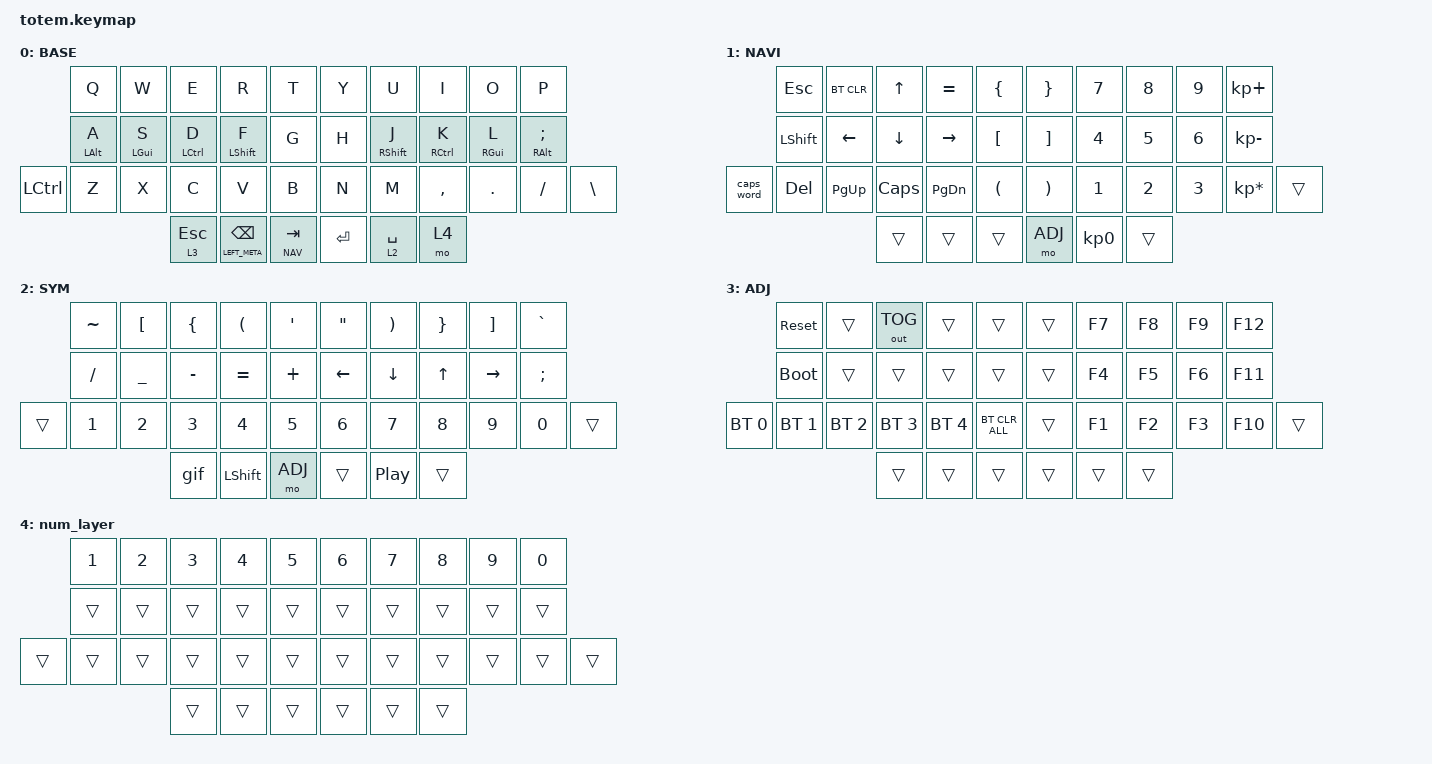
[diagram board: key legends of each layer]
//
//                                                        ▀▀▀▀▀     ▀▀▀▀▀          ▀▀█▀▀
//                                                        ▄▀▀▀▄  ▄  ▄▀▀▀▄  ▄  ▄▀▀▀▄  █  ▄▀▀▀▄
//                                                        █   █  █  █   █  █  █   █  █  █   █
//                                                         ▀▀▀   █   ▀▀▀   █   ▀▀▀   ▀   ▀▀▀
//                                                               █      ▄▄▄█▄▄▄    █   █  
//                                                               ▀      █  █  █     █▄█
//                                                             ▀▀▀▀▀    █  █  █      ▀
//                                                                      ▀  ▀  ▀
//
// ▄▄▄▄▄▄▄▄▄▄▄▄▄▄▄▄▄▄▄▄▄▄▄▄▄▄▄▄▄▄▄▄▄▄▄▄▄▄▄▄▄▄▄▄▄▄▄▄▄▄▄▄▄▄▄▄▄▄▄▄▄▄▄▄▄▄▄▄▄▄▄▄▄▄▄▄▄▄▄▄▄▄▄▄▄▄▄▄▄▄▄▄▄▄▄▄▄▄▄▄▄▄▄▄▄▄▄▄▄▄▄▄▄▄▄▄▄▄▄▄▄▄▄▄▄▄▄▄▄▄▄▄▄▄▄▄▄▄▄▄▄▄▄▄▄▄▄▄▄

#include <behaviors.dtsi>
#include <dt-bindings/zmk/bt.h>
#include <dt-bindings/zmk/keys.h>
#include <dt-bindings/zmk/outputs.h>

#define BASE 0
#define NAV  1
#define SYM  2
#define ADJ  3

&mt {
    quick-tap-ms = <100>;
    global-quick-tap;
    flavor = "tap-preferred";
    tapping-term-ms = <170>;
};

/ {
    combos {
        compatible = "zmk,combos";

        combo_esc {
            timeout-ms = <50>;
            key-positions = <0 1>;
            bindings = <&kp ESC>;
        };
    };

    macros {
        gif: gif {
            label = "giphy";
            compatible = "zmk,behavior-macro";
            #binding-cells = <0>;
            bindings =
                <&macro_press>,
                <&kp LSHFT>,
                <&macro_tap>,
                <&kp N2>,
                <&macro_release>,
                <&kp LSHFT>,
                <&macro_tap>,
                <&kp G &kp I &kp F>;
        };
    };

    keymap {
        compatible = "zmk,keymap";

        // ▄▄▄▄▄▄▄▄▄▄▄▄▄▄▄▄▄▄▄▄▄▄▄▄▄▄▄▄▄▄▄▄▄▄▄▄▄▄▄▄▄▄▄▄▄▄▄▄▄▄▄▄▄▄▄▄▄▄▄▄▄▄▄▄▄▄▄▄▄▄▄▄▄▄▄▄▄▄▄▄▄▄▄▄▄▄▄▄▄▄▄▄▄▄▄▄▄▄▄▄▄▄▄▄▄▄▄▄▄▄▄▄▄▄▄▄▄▄▄▄▄▄▄▄▄▄▄▄▄▄▄▄▄▄▄▄▄▄▄▄▄▄▄▄▄▄▄▄▄

        base_layer {
            // ┏━━━━━━━━━━━━━━━━━━━━━━━━━━━━━━━━━━━━━━━┓

            label = "BASE";

            // ┗━━━━━━━━━━━━━━━━━━━━━━━━━━━━━━━━━━━━━━━┛
            //             ┏━━━━━━━━━━━┳━━━━━━━━━━━┳━━━━━━━━━━━┳━━━━━━━━━━━┳━━━━━━━━━━━┓   ┏━━━━━━━━━━━┳━━━━━━━━━━━┳━━━━━━━━━━━┳━━━━━━━━━━━┳━━━━━━━━━━━┓
            //             ┃     Q     ┃     W     ┃     E     ┃     R     ┃     T     ┃   ┃     Y     ┃     U     ┃     I     ┃     O     ┃     P     ┃
            //             ┣━━━━━━━━━━━╋━━━━━━━━━━━╋━━━━━━━━━━━╋━━━━━━━━━━━╋━━━━━━━━━━━┫   ┣━━━━━━━━━━━╋━━━━━━━━━━━╋━━━━━━━━━━━╋━━━━━━━━━━━╋━━━━━━━━━━━┫
            //             ┃     A     ┃     S     ┃     D     ┃     F     ┃     G     ┃   ┃     H     ┃     J     ┃     K     ┃     L     ┃     ;     ┃
            // ┏━━━━━━━━━━━╋━━━━━━━━━━━╋━━━━━━━━━━━╋━━━━━━━━━━━╋━━━━━━━━━━━╋━━━━━━━━━━━┫   ┣━━━━━━━━━━━╋━━━━━━━━━━━╋━━━━━━━━━━━╋━━━━━━━━━━━╋━━━━━━━━━━━╋━━━━━━━━━━━┓
            // ┃           ┃     Z     ┃     X     ┃     C     ┃     V     ┃     B     ┃   ┃     N     ┃     M     ┃     ,     ┃     .     ┃     /     ┃           ┃
            // ┗━━━━━━━━━━━┻━━━━━━━━━━━┻━━━━━━━━━━━╋━━━━━━━━━━━╋━━━━━━━━━━━╋━━━━━━━━━━━┫   ┣━━━━━━━━━━━╋━━━━━━━━━━━╋━━━━━━━━━━━╋━━━━━━━━━━━┻━━━━━━━━━━━┻━━━━━━━━━━━┛
            //                                     ┃    GUI    ┃   BSPC    ┃    SPC    ┃   ┃   ENTER   ┃    SPC    ┃    ALT    ┃
            //                                     ┗━━━━━━━━━━━┻━━━━━━━━━━━┻━━━━━━━━━━━┛   ┗━━━━━━━━━━━┻━━━━━━━━━━━┻━━━━━━━━━━━┛

            bindings = <
                  &kp Q           &kp W       &kp E         &kp R                    &kp T          &kp Y      &kp U        &kp I        &kp O       &kp P
                  &mt LEFT_ALT A  &mt LGUI S  &mt LCTRL D   &mt LSHFT F              &kp G          &kp H      &mt RSHFT J  &mt RCTRL K  &mt RGUI L  &mt RIGHT_ALT SEMI
&kp LEFT_CONTROL  &kp Z           &kp X       &kp C         &kp V                    &kp B          &kp N      &kp M        &kp COMMA    &kp DOT     &kp SLASH           &kp BACKSLASH
                                              &lt 3 ESCAPE  &mt LEFT_META BACKSPACE  &lt NAV TAB    &kp ENTER  &lt 2 SPACE  &mo 4
            >;
        };

        // ▄▄▄▄▄▄▄▄▄▄▄▄▄▄▄▄▄▄▄▄▄▄▄▄▄▄▄▄▄▄▄▄▄▄▄▄▄▄▄▄▄▄▄▄▄▄▄▄▄▄▄▄▄▄▄▄▄▄▄▄▄▄▄▄▄▄▄▄▄▄▄▄▄▄▄▄▄▄▄▄▄▄▄▄▄▄▄▄▄▄▄▄▄▄▄▄▄▄▄▄▄▄▄▄▄▄▄▄▄▄▄▄▄▄▄▄▄▄▄▄▄▄▄▄▄▄▄▄▄▄▄▄▄▄▄▄▄▄▄▄▄▄▄▄▄▄▄▄▄

        nav_layer {
            // ┏━━━━━━━━━━━━━━━━━━━━━━━━━━━━━━━━━━━━━━━┓

            label = "NAVI";

            // ┗━━━━━━━━━━━━━━━━━━━━━━━━━━━━━━━━━━━━━━━┛
            //             ┏━━━━━━━━━━━┳━━━━━━━━━━━┳━━━━━━━━━━━┳━━━━━━━━━━━┳━━━━━━━━━━━┓   ┏━━━━━━━━━━━┳━━━━━━━━━━━┳━━━━━━━━━━━┳━━━━━━━━━━━┳━━━━━━━━━━━┓
            //             ┃           ┃           ┃     UP    ┃           ┃     {     ┃   ┃     }     ┃     7     ┃     8     ┃     9     ┃     +     ┃
            //             ┣━━━━━━━━━━━╋━━━━━━━━━━━╋━━━━━━━━━━━╋━━━━━━━━━━━╋━━━━━━━━━━━┫   ┣━━━━━━━━━━━╋━━━━━━━━━━━╋━━━━━━━━━━━╋━━━━━━━━━━━╋━━━━━━━━━━━┫
            //             ┃   SHIFT   ┃   LEFT    ┃    DOWN   ┃   RIGHT   ┃     [     ┃   ┃     ]     ┃     4     ┃     5     ┃     6     ┃     -     ┃
            // ┏━━━━━━━━━━━╋━━━━━━━━━━━╋━━━━━━━━━━━╋━━━━━━━━━━━╋━━━━━━━━━━━╋━━━━━━━━━━━┫   ┣━━━━━━━━━━━╋━━━━━━━━━━━╋━━━━━━━━━━━╋━━━━━━━━━━━╋━━━━━━━━━━━╋━━━━━━━━━━━┓
            // ┃           ┃           ┃   P UP    ┃  C LOCK   ┃  P DOWN   ┃     (     ┃   ┃     )     ┃     1     ┃     2     ┃     3     ┃     *     ┃           ┃
            // ┗━━━━━━━━━━━┻━━━━━━━━━━━┻━━━━━━━━━━━╋━━━━━━━━━━━╋━━━━━━━━━━━╋━━━━━━━━━━━┫   ┣━━━━━━━━━━━╋━━━━━━━━━━━╋━━━━━━━━━━━╋━━━━━━━━━━━┻━━━━━━━━━━━┻━━━━━━━━━━━┛
            //                                     ┃           ┃    TAB    ┃    SPC    ┃   ┃    DEL    ┃     0     ┃           ┃
            //                                     ┗━━━━━━━━━━━┻━━━━━━━━━━━┻━━━━━━━━━━━┛   ┗━━━━━━━━━━━┻━━━━━━━━━━━┻━━━━━━━━━━━┛

            bindings = <
            &kp ESC    &bt BT_CLR  &kp UP    &kp EQUAL  &kp LBRC    &kp RBRC  &kp N7        &kp N8        &kp N9        &kp KP_PLUS
            &kp LSHFT  &kp LEFT    &kp DOWN  &kp RIGHT  &kp LBKT    &kp RBKT  &kp NUMBER_4  &kp N5        &kp NUMBER_6  &kp KP_MINUS
&caps_word  &kp DEL    &kp PG_UP   &kp CAPS  &kp PG_DN  &kp LPAR    &kp RPAR  &kp NUMBER_1  &kp NUMBER_2  &kp NUMBER_3  &kp KP_MULTIPLY  &trans
                                   &trans    &trans     &trans      &mo ADJ   &kp KP_N0     &trans
            >;
        };

        // ▄▄▄▄▄▄▄▄▄▄▄▄▄▄▄▄▄▄▄▄▄▄▄▄▄▄▄▄▄▄▄▄▄▄▄▄▄▄▄▄▄▄▄▄▄▄▄▄▄▄▄▄▄▄▄▄▄▄▄▄▄▄▄▄▄▄▄▄▄▄▄▄▄▄▄▄▄▄▄▄▄▄▄▄▄▄▄▄▄▄▄▄▄▄▄▄▄▄▄▄▄▄▄▄▄▄▄▄▄▄▄▄▄▄▄▄▄▄▄▄▄▄▄▄▄▄▄▄▄▄▄▄▄▄▄▄▄▄▄▄▄▄▄▄▄▄▄▄▄

        sim_layer {
            // ┏━━━━━━━━━━━━━━━━━━━━━━━━━━━━━━━━━━━━━━━┓

            label = "SYM";

            // ┗━━━━━━━━━━━━━━━━━━━━━━━━━━━━━━━━━━━━━━━┛
            //             ┏━━━━━━━━━━━┳━━━━━━━━━━━┳━━━━━━━━━━━┳━━━━━━━━━━━┳━━━━━━━━━━━┓   ┏━━━━━━━━━━━┳━━━━━━━━━━━┳━━━━━━━━━━━┳━━━━━━━━━━━┳━━━━━━━━━━━┓
            //             ┃     !     ┃     @     ┃     #     ┃     $     ┃     %     ┃   ┃     ˆ     ┃     &     ┃     Ü     ┃     '     ┃     "     ┃
            //             ┣━━━━━━━━━━━╋━━━━━━━━━━━╋━━━━━━━━━━━╋━━━━━━━━━━━╋━━━━━━━━━━━┫   ┣━━━━━━━━━━━╋━━━━━━━━━━━╋━━━━━━━━━━━╋━━━━━━━━━━━╋━━━━━━━━━━━┫
            //             ┃     Ä     ┃           ┃    SZ     ┃           ┃           ┃   ┃   MUTE    ┃   YEN     ┃   EURO    ┃  POUND    ┃     Ö     ┃
            // ┏━━━━━━━━━━━╋━━━━━━━━━━━╋━━━━━━━━━━━╋━━━━━━━━━━━╋━━━━━━━━━━━╋━━━━━━━━━━━┫   ┣━━━━━━━━━━━╋━━━━━━━━━━━╋━━━━━━━━━━━╋━━━━━━━━━━━╋━━━━━━━━━━━╋━━━━━━━━━━━┓
            // ┃           ┃  EMAIL1   ┃  EMAIL2   ┃           ┃           ┃           ┃   ┃   VOL-    ┃   VOL+    ┃   LAST    ┃   NEXT    ┃     \     ┃           ┃
            // ┗━━━━━━━━━━━┻━━━━━━━━━━━┻━━━━━━━━━━━╋━━━━━━━━━━━╋━━━━━━━━━━━╋━━━━━━━━━━━┫   ┣━━━━━━━━━━━╋━━━━━━━━━━━╋━━━━━━━━━━━╋━━━━━━━━━━━┻━━━━━━━━━━━┻━━━━━━━━━━━┛
            //                                     ┃           ┃    GIF    ┃    ADJ    ┃   ┃           ┃           ┃           ┃
            //                                     ┗━━━━━━━━━━━┻━━━━━━━━━━━┻━━━━━━━━━━━┛   ┗━━━━━━━━━━━┻━━━━━━━━━━━┻━━━━━━━━━━━┛

            bindings = <
        &kp TILDE     &kp LEFT_BRACKET  &kp LEFT_BRACE  &kp LEFT_PARENTHESIS  &kp SINGLE_QUOTE    &kp DOUBLE_QUOTES  &kp RIGHT_PARENTHESIS  &kp RIGHT_BRACE  &kp RIGHT_BRACKET  &kp GRAVE
        &kp SLASH     &kp UNDERSCORE    &kp MINUS       &kp EQUAL             &kp PLUS            &kp LEFT_ARROW     &kp DOWN_ARROW         &kp UP_ARROW     &kp RIGHT_ARROW    &kp SEMICOLON
&trans  &kp NUMBER_1  &kp NUMBER_2      &kp NUMBER_3    &kp NUMBER_4          &kp NUMBER_5        &kp NUMBER_6       &kp NUMBER_7           &kp NUMBER_8     &kp NUMBER_9       &kp NUMBER_0   &trans
                                        &gif            &kp LEFT_SHIFT        &mo ADJ             &trans             &kp C_PP               &trans
            >;
        };

        // ▄▄▄▄▄▄▄▄▄▄▄▄▄▄▄▄▄▄▄▄▄▄▄▄▄▄▄▄▄▄▄▄▄▄▄▄▄▄▄▄▄▄▄▄▄▄▄▄▄▄▄▄▄▄▄▄▄▄▄▄▄▄▄▄▄▄▄▄▄▄▄▄▄▄▄▄▄▄▄▄▄▄▄▄▄▄▄▄▄▄▄▄▄▄▄▄▄▄▄▄▄▄▄▄▄▄▄▄▄▄▄▄▄▄▄▄▄▄▄▄▄▄▄▄▄▄▄▄▄▄▄▄▄▄▄▄▄▄▄▄▄▄▄▄▄▄▄▄▄

        adjust_layer {
            // ┏━━━━━━━━━━━━━━━━━━━━━━━━━━━━━━━━━━━━━━━┓

            label = "ADJ";

            // ┗━━━━━━━━━━━━━━━━━━━━━━━━━━━━━━━━━━━━━━━┛
            //             ┏━━━━━━━━━━━┳━━━━━━━━━━━┳━━━━━━━━━━━┳━━━━━━━━━━━┳━━━━━━━━━━━┓   ┏━━━━━━━━━━━┳━━━━━━━━━━━┳━━━━━━━━━━━┳━━━━━━━━━━━┳━━━━━━━━━━━┓
            //             ┃   RESET   ┃ BT CLEAR  ┃  OUT TOG  ┃           ┃           ┃   ┃           ┃    F7     ┃    F8     ┃    F9     ┃    F12    ┃
            //             ┣━━━━━━━━━━━╋━━━━━━━━━━━╋━━━━━━━━━━━╋━━━━━━━━━━━╋━━━━━━━━━━━┫   ┣━━━━━━━━━━━╋━━━━━━━━━━━╋━━━━━━━━━━━╋━━━━━━━━━━━╋━━━━━━━━━━━┫
            //             ┃ BOOTLOAD  ┃ BT NEXT   ┃           ┃           ┃           ┃   ┃           ┃    F4     ┃    F5     ┃    F6     ┃    F11    ┃
            // ┏━━━━━━━━━━━╋━━━━━━━━━━━╋━━━━━━━━━━━╋━━━━━━━━━━━╋━━━━━━━━━━━╋━━━━━━━━━━━┫   ┣━━━━━━━━━━━╋━━━━━━━━━━━╋━━━━━━━━━━━╋━━━━━━━━━━━╋━━━━━━━━━━━╋━━━━━━━━━━━┓
            // ┃           ┃           ┃ BT PREV   ┃           ┃           ┃           ┃   ┃           ┃    F1     ┃    F2     ┃    F3     ┃    F10    ┃           ┃
            // ┗━━━━━━━━━━━┻━━━━━━━━━━━┻━━━━━━━━━━━╋━━━━━━━━━━━╋━━━━━━━━━━━╋━━━━━━━━━━━┫   ┣━━━━━━━━━━━╋━━━━━━━━━━━╋━━━━━━━━━━━╋━━━━━━━━━━━┻━━━━━━━━━━━┻━━━━━━━━━━━┛
            //                                     ┃           ┃           ┃           ┃   ┃           ┃           ┃           ┃
            //                                     ┗━━━━━━━━━━━┻━━━━━━━━━━━┻━━━━━━━━━━━┛   ┗━━━━━━━━━━━┻━━━━━━━━━━━┻━━━━━━━━━━━┛

            bindings = <
              &sys_reset    &trans        &out OUT_TOG  &trans        &trans            &trans  &kp F7  &kp F8  &kp F9  &kp F12
              &bootloader   &trans        &trans        &trans        &trans            &trans  &kp F4  &kp F5  &kp F6  &kp F11
&bt BT_SEL 0  &bt BT_SEL 1  &bt BT_SEL 2  &bt BT_SEL 3  &bt BT_SEL 4  &bt BT_CLR_ALL    &trans  &kp F1  &kp F2  &kp F3  &kp F10  &trans
                                          &trans        &trans        &trans            &trans  &trans  &trans
            >;
        };

        num_layer {
            bindings = <
        &kp NUMBER_1  &kp NUMBER_2  &kp NUMBER_3  &kp NUMBER_4  &kp NUMBER_5    &kp NUMBER_6  &kp NUMBER_7  &kp NUMBER_8  &kp NUMBER_9  &kp NUMBER_0
        &trans        &trans        &trans        &trans        &trans          &trans        &trans        &trans        &trans        &trans
&trans  &trans        &trans        &trans        &trans        &trans          &trans        &trans        &trans        &trans        &trans        &trans
                                    &trans        &trans        &trans          &trans        &trans        &trans
            >;
        };
    };
};
